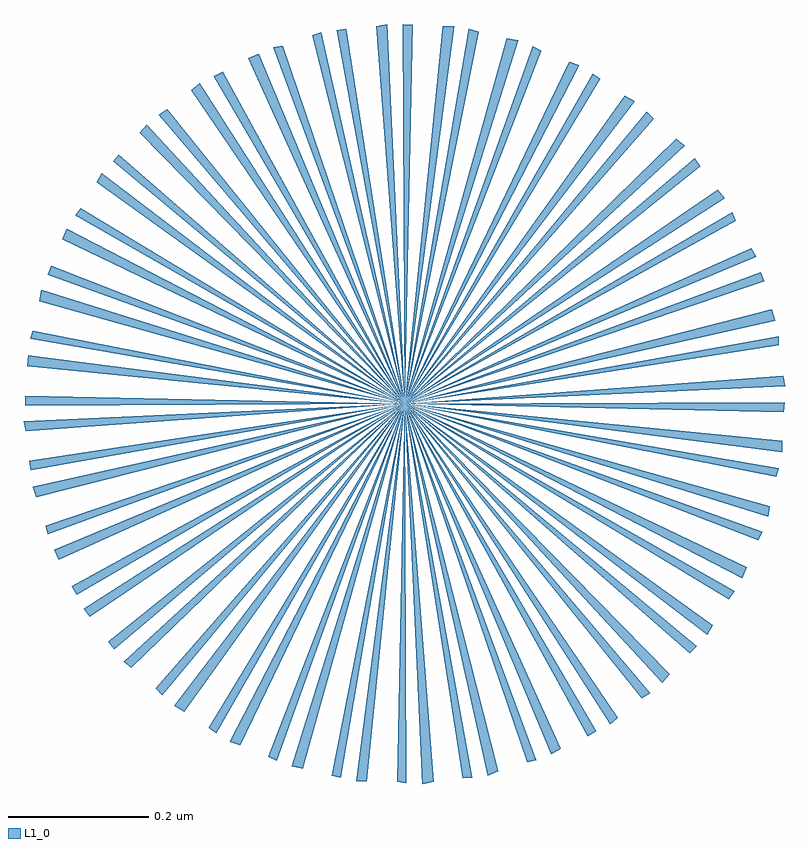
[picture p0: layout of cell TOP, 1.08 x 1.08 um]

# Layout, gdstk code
import gdstk
lib = gdstk.Library(unit=1e-6, precision=1e-09)
def P(c, l, *ps):  # polygons
    for p in ps: c.add(gdstk.Polygon(p, *l))
L1_0 = (1, 0)

top = lib.new_cell('TOP')
P(top, L1_0, [(-0.329,2.401),(-0.866,2.454),(-0.865,2.47)],
  [(-0.329,2.401),(-0.706,2.786),(-0.696,2.798)],
  [(-0.329,2.401),(0.209,2.441),(0.212,2.426)],
  [(-0.329,2.401),(-0.147,2.909),(-0.135,2.903)],
  [(0.199,2.297),(-0.329,2.401),(0.203,2.309)],
  [(-0.777,2.098),(-0.786,2.109),(-0.329,2.401)],
  [(-0.329,2.401),(-0.461,2.925),(-0.448,2.929)],
  [(0.21,2.389),(-0.329,2.401),(0.211,2.403)],
  [(-0.511,1.893),(-0.523,1.899),(-0.329,2.401)],
  [(-0.037,1.945),(-0.329,2.401),(-0.026,1.954)],
  [(-0.643,1.963),(-0.657,1.971),(-0.329,2.401)],
  [(-0.329,2.401),(-0.816,2.635),(-0.81,2.65)],
  [(-0.329,2.401),(0.193,2.535),(0.198,2.519)],
  [(-0.329,2.401),(-0.238,2.934),(-0.224,2.93)],
  [(-0.155,1.891),(-0.329,2.401),(-0.142,1.894)],
  [(-0.329,2.401),(0.203,2.497),(0.203,2.484)],
  [(-0.304,1.86),(-0.329,2.401),(-0.288,1.863)],
  [(-0.327,1.861),(-0.34,1.863),(-0.329,2.401)],
  [(0.132,2.123),(-0.329,2.401),(0.14,2.134)],
  [(-0.329,2.401),(0.116,2.705),(0.126,2.693)],
  [(0.151,2.153),(-0.329,2.401),(0.157,2.168)],
  [(-0.597,1.932),(-0.608,1.94),(-0.329,2.401)],
  [(-0.329,2.401),(-0.679,2.812),(-0.667,2.82)],
  [(-0.329,2.401),(-0.798,2.669),(-0.79,2.679)],
  [(-0.821,2.179),(-0.828,2.193),(-0.329,2.401)],
  [(-0.674,1.986),(-0.683,1.996),(-0.329,2.401)],
  [(0.208,2.332),(-0.329,2.401),(0.208,2.348)],
  [(-0.121,1.902),(-0.329,2.401),(-0.107,1.91)],
  [(-0.329,2.401),(-0.633,2.847),(-0.621,2.857)],
  [(-0.329,2.401),(0.137,2.673),(0.142,2.661)],
  [(-0.718,2.025),(-0.729,2.034),(-0.329,2.401)],
  [(-0.329,2.401),(-0.062,2.87),(-0.051,2.863)],
  [(-0.329,2.401),(-0.837,2.584),(-0.832,2.597)],
  [(-0.329,2.401),(-0.184,2.921),(-0.168,2.918)],
  [(0.101,2.072),(-0.329,2.401),(0.109,2.086)],
  [(-0.329,2.401),(-0.426,2.932),(-0.412,2.934)],
  [(-0.474,1.882),(-0.49,1.885),(-0.329,2.401)],
  [(0.076,2.046),(-0.329,2.401),(0.086,2.056)],
  [(0.008,1.982),(-0.329,2.401),(0.02,1.989)],
  [(-0.329,2.401),(0.083,2.75),(0.091,2.739)],
  [(-0.869,2.398),(-0.869,2.412),(-0.329,2.401)],
  [(-0.329,2.401),(0.057,2.778),(0.069,2.768)],
  [(-0.796,2.129),(-0.803,2.141),(-0.329,2.401)],
  [(-0.329,2.401),(-0.37,2.938),(-0.354,2.941)],
  [(-0.329,2.401),(0.164,2.622),(0.171,2.61)],
  [(-0.329,2.401),(-0.552,2.892),(-0.537,2.899)],
  [(-0.329,2.401),(-0.275,2.938),(-0.259,2.938)],
  [(-0.329,2.401),(-0.767,2.716),(-0.76,2.729)],
  [(-0.853,2.268),(-0.858,2.283),(-0.329,2.401)],
  [(0.174,2.207),(-0.329,2.401),(0.179,2.219)],
  [(-0.069,1.928),(-0.329,2.401),(-0.057,1.935)],
  [(-0.329,2.401),(-0.601,2.867),(-0.588,2.873)],
  [(-0.329,2.401),(0.015,2.816),(0.025,2.806)],
  [(-0.329,2.401),(-0.016,2.839),(-0.002,2.831)],
  [(-0.329,2.401),(-0.862,2.493),(-0.858,2.505)],
  [(-0.211,1.872),(-0.329,2.401),(-0.196,1.878)],
  [(-0.868,2.362),(-0.871,2.376),(-0.329,2.401)],
  [(-0.329,2.401),(-0.744,2.746),(-0.736,2.755)],
  [(-0.329,2.401),(0.177,2.588),(0.182,2.575)],
  [(-0.861,2.306),(-0.863,2.32),(-0.329,2.401)],
  [(-0.742,2.052),(-0.751,2.062),(-0.329,2.401)],
  [(-0.329,2.401),(-0.332,2.941),(-0.318,2.94)],
  [(-0.398,1.864),(-0.329,2.401),(-0.383,1.864)],
  [(0.037,2.004),(-0.329,2.401),(0.048,2.016)],
  [(-0.329,2.401),(-0.516,2.908),(-0.503,2.91)],
  [(-0.329,2.401),(-0.095,2.887),(-0.081,2.882)],
  [(-0.247,1.868),(-0.329,2.401),(-0.233,1.869)],
  [(-0.563,1.915),(-0.578,1.92),(-0.329,2.401)],
  [(-0.837,2.215),(-0.84,2.227),(-0.329,2.401)],
  [(-0.42,1.869),(-0.433,1.872),(-0.329,2.401)],
  [(-0.329,2.401),(-0.849,2.547),(-0.846,2.563)],
  [(0.188,2.24),(-0.329,2.401),(0.19,2.255)])

lib.write_gds('TOP.gds')
